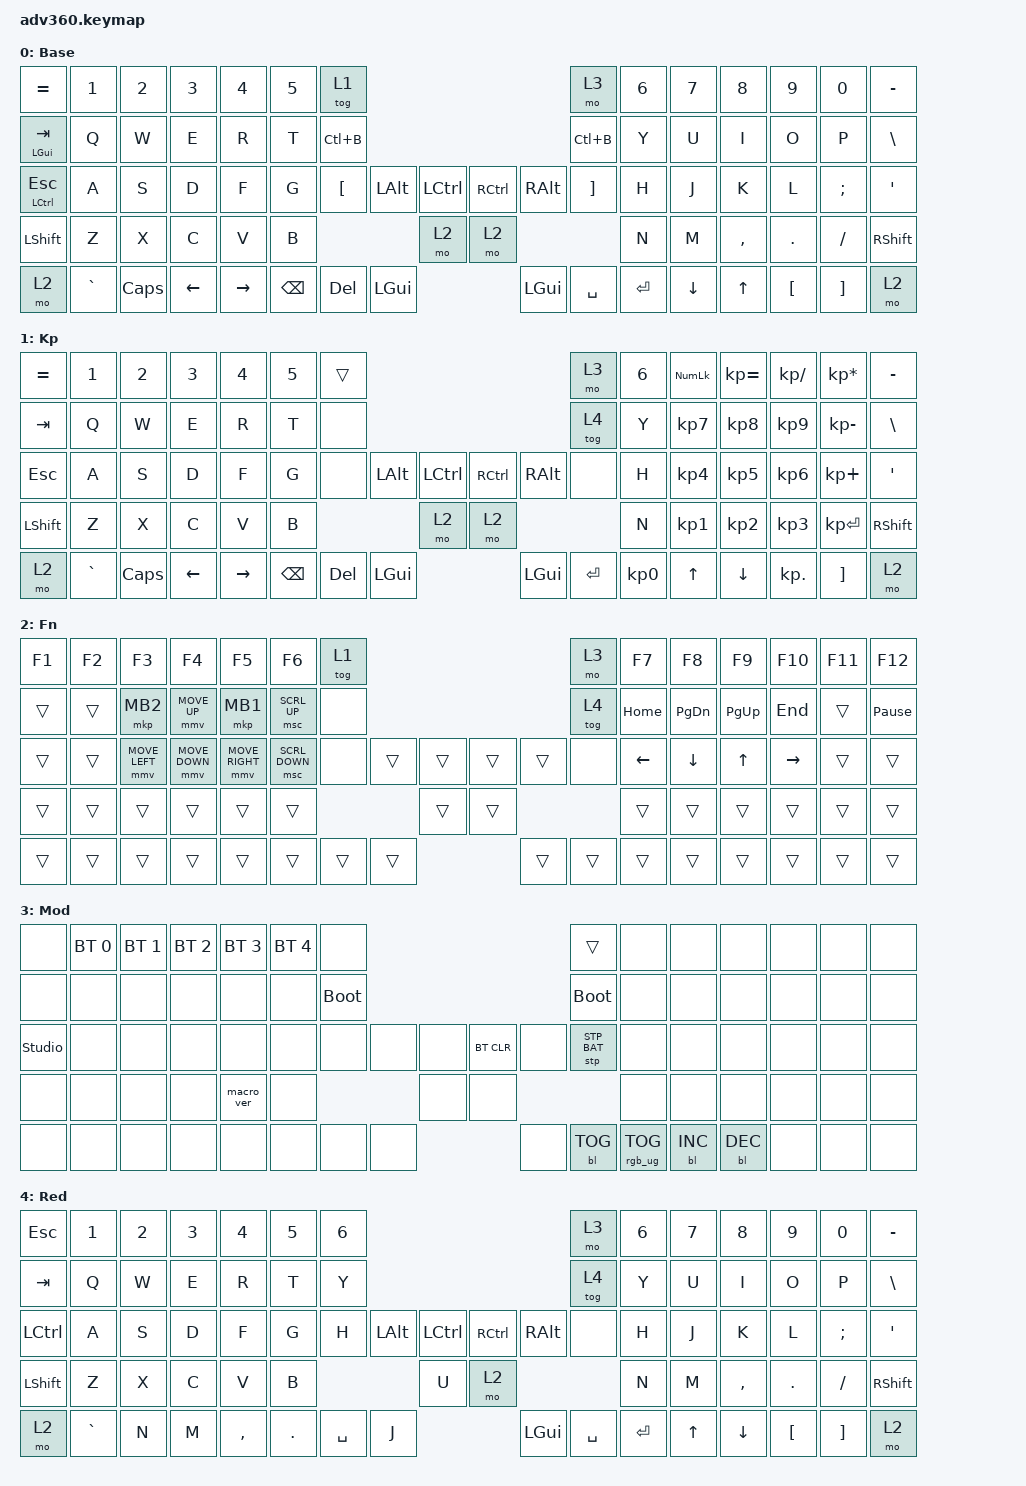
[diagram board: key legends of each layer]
#include <dt-bindings/zmk/stp.h>
#include <behaviors.dtsi>
#include <dt-bindings/zmk/backlight.h>
#include <dt-bindings/zmk/bt.h>
#include <dt-bindings/zmk/keys.h>
#include <dt-bindings/zmk/pointing.h>
#include <dt-bindings/zmk/rgb.h>

#define ZMK_POINTING_DEFAULT_MOVE_VAL 1500  // default: 600
#define ZMK_POINTING_DEFAULT_SCRL_VAL 20    // default: 10

/ {
    behaviors {
      #include "macros.dtsi"
      #include "version.dtsi"

        hm: homerow_mods {
            compatible = "zmk,behavior-hold-tap";
            label = "HOMEROW_MODS";
            #binding-cells = <2>;
            tapping-term-ms = <175>;
            quick_tap_ms = <140>;
            flavor = "tap-preferred";
            bindings = <&kp>, <&kp>;
        };
        hml: home_row_mod_left {
            compatible = "zmk,behavior-hold-tap";
            #binding-cells = <2>;
            flavor = "hold-preferred";
            require-prior-idle-ms = <125>;
            tapping-term-ms = <180>;
            quick-tap-ms = <140>;
            bindings = <&kp>, <&kp>;
            hold-trigger-key-positions = <44>; // List of keys on the right side of the keyboard
            hold-trigger-on-release;
        };
        hmr: home_row_mod_right {
            compatible = "zmk,behavior-hold-tap";
            #binding-cells = <2>;
            flavor = "hold-preferred";
            require-prior-idle-ms = <125>;
            tapping-term-ms = <180>;
            quick-tap-ms = <140>;
            bindings = <&kp>, <&kp>;
            hold-trigger-key-positions = <29>; // List of keys on the left side of the keyboard
            hold-trigger-on-release;
        };
    };

    keymap {
        compatible = "zmk,keymap";

        default_layer {
            display-name = "Base"; //work layer
            bindings = <
&kp EQUAL         &kp N1            &kp N2    &kp N3    &kp N4     &kp N5  &tog 1                                                       &mo 3      &kp N6  &kp N7  &kp N8     &kp N9    &kp N0                &kp MINUS
&mt LEFT_GUI TAB  &kp Q             &kp W     &kp E     &kp R      &kp T   &kp LC(B)                                                    &kp LC(B)  &kp Y   &kp U   &kp I      &kp O     &kp P                 &kp BSLH
&hm LCTRL ESCAPE  &kp A             &kp S     &kp D     &kp F      &kp G   &kp LBKT  &kp LALT  &kp LCTRL      &kp RCTRL  &kp RIGHT_ALT  &kp RBKT   &kp H   &kp J   &kp K      &kp L     &kp SEMI              &kp SQT
&kp LSHFT         &kp Z             &kp X     &kp C     &kp V      &kp B                       &mo 2          &mo 2                                &kp N   &kp M   &kp COMMA  &kp DOT   &kp FSLH              &kp RSHFT
&mo 2             &kp GRAVE         &kp CAPS  &kp LEFT  &kp RIGHT          &kp BSPC  &kp DEL   &kp LGUI       &kp LGUI   &kp SPACE      &kp ENTER          &kp DOWN  &kp UP   &kp LBKT  &kp RBKT              &mo 2
            >;
        };

        keypad {
            display-name = "Kp";
            bindings = <
&kp EQUAL  &kp N1     &kp N2    &kp N3    &kp N4     &kp N5  &trans                                                   &mo 3       &kp N6  &kp KP_NUM  &kp KP_EQUAL  &kp KP_DIVIDE  &kp KP_MULTIPLY  &kp MINUS
&kp TAB    &kp Q      &kp W     &kp E     &kp R      &kp T   &none                                                    &tog 4      &kp Y   &kp KP_N7   &kp KP_N8     &kp KP_N9      &kp KP_MINUS     &kp BSLH
&kp ESC    &kp A      &kp S     &kp D     &kp F      &kp G   &none     &kp LALT   &kp LCTRL      &kp RCTRL   &kp RALT  &none      &kp H   &kp KP_N4   &kp KP_N5     &kp KP_N6      &kp KP_PLUS      &kp SQT
&kp LSHFT  &kp Z      &kp X     &kp C     &kp V      &kp B                        &mo 2          &mo 2                            &kp N   &kp KP_N1   &kp KP_N2     &kp KP_N3      &kp KP_ENTER     &kp RSHFT
&mo 2      &kp GRAVE  &kp CAPS  &kp LEFT  &kp RIGHT          &kp BSPC  &kp DEL    &kp LGUI       &kp LGUI  &kp ENTER  &kp KP_N0           &kp UP      &kp DOWN      &kp KP_DOT     &kp RBKT         &mo 2
            >;
        };

        fn {
            display-name = "Fn";
            bindings = <
&kp F1  &kp F2  &kp F3          &kp F4          &kp F5           &kp F6          &tog 1                                      &mo 3   &kp F7          &kp F8          &kp F9        &kp F10    &kp F11  &kp F12
&trans  &trans  &mkp MB2        &mmv MOVE_UP    &mkp MB1         &msc SCRL_UP    &none                                       &tog 4   &kp HOME        &kp PAGE_DOWN   &kp PAGE_UP   &kp END    &trans   &kp PAUSE_BREAK
&trans  &trans  &mmv MOVE_LEFT  &mmv MOVE_DOWN  &mmv MOVE_RIGHT  &msc SCRL_DOWN  &none   &trans  &trans      &trans  &trans  &none   &kp LEFT_ARROW  &kp DOWN_ARROW  &kp UP_ARROW  &kp RIGHT  &trans   &trans
&trans  &trans  &trans          &trans          &trans           &trans                          &trans      &trans                  &trans          &trans          &trans        &trans     &trans   &trans
&trans  &trans  &trans          &trans          &trans                           &trans  &trans  &trans      &trans  &trans  &trans                  &trans          &trans        &trans     &trans   &trans
            >;
        };

        mod {
            display-name = "Mod";
            bindings = <
&none           &bt BT_SEL 0  &bt BT_SEL 1  &bt BT_SEL 2  &bt BT_SEL 3  &bt BT_SEL 4  &none                                                  &trans           &none  &none       &none       &none  &none  &none
&none           &none         &none         &none         &none         &none         &bootloader                                            &bootloader      &none  &none       &none       &none  &none  &none
&studio_unlock  &none         &none         &none         &none         &none         &none        &none  &none      &bt BT_CLR  &none       &stp STP_BAT     &none  &none       &none       &none  &none  &none
&none           &none         &none         &none         &macro_ver    &none                             &none      &none                                    &none  &none       &none       &none  &none  &none
&none           &none         &none         &none         &none                       &none        &none  &none      &none       &bl BL_TOG  &rgb_ug RGB_TOG         &bl BL_INC  &bl BL_DEC  &none  &none  &none
            >;
        };

        extra1 {
            display-name = "Red"; //Gaming FPS shooter
            bindings = <
&kp ESC    &kp N1     &kp N2    &kp N3    &kp N4     &kp N5  &kp N6                                                         &mo 3      &kp N6  &kp N7  &kp N8     &kp N9    &kp N0    &kp MINUS
&kp TAB    &kp Q      &kp W     &kp E     &kp R      &kp T   &kp Y                                                         &tog 4      &kp Y   &kp U   &kp I      &kp O     &kp P     &kp BSLH
&kp LCTRL  &kp A      &kp S     &kp D     &kp F      &kp G   &kp H      &kp LALT   &kp LCTRL      &kp RCTRL  &kp RIGHT_ALT  &none      &kp H   &kp J   &kp K      &kp L     &kp SEMI  &kp SQT
&kp LSHFT  &kp Z      &kp X     &kp C     &kp V      &kp B                         &kp U          &mo 2                                &kp N   &kp M   &kp COMMA  &kp DOT   &kp FSLH  &kp RSHFT	
&mo 2      &kp GRAVE  &kp N  &kp M  &kp COMMA          &kp DOT  &kp SPACE  &kp J   &kp LGUI   &kp SPACE      &kp ENTER          &kp UP  &kp DOWN   &kp LBKT  &kp RBKT  &mo 2
            >;
        };

        extra2 {
            display-name = "Purple";
            status = "reserved";
        };

        extra3 {
            display-name = "Cyan";
            status = "reserved";
        };

        extra4 {
            display-name = "Yellow";
            status = "reserved";
        };
    };
};
